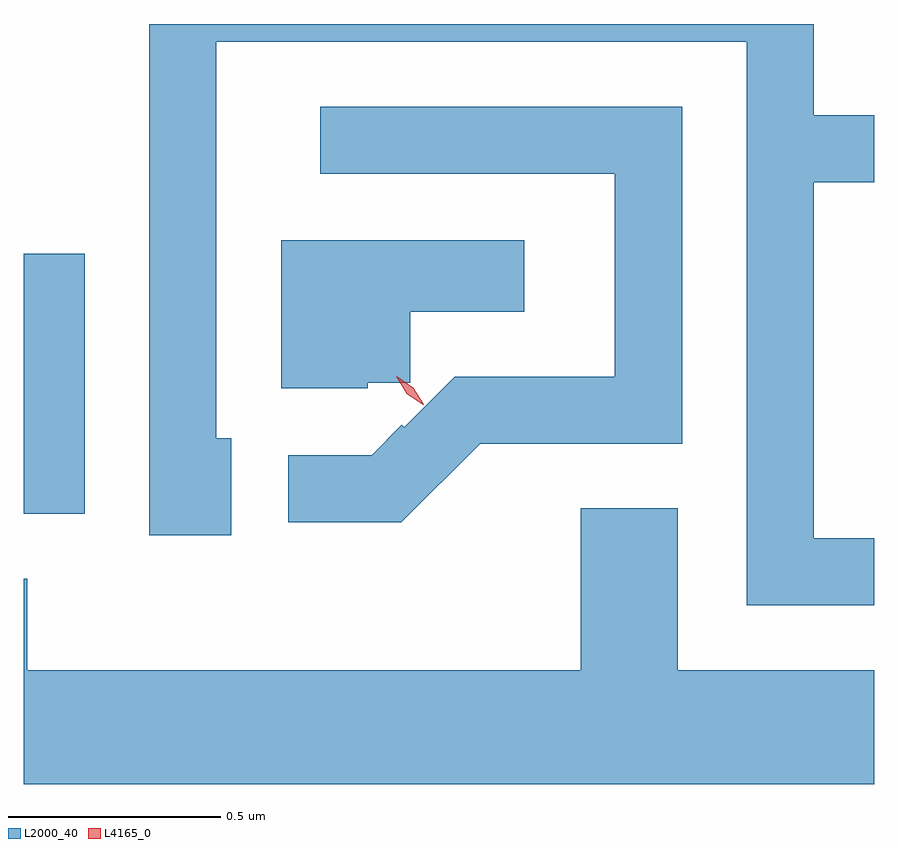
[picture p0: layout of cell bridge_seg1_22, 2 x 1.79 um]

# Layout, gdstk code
import gdstk
lib = gdstk.Library(unit=1e-6, precision=1e-09)
def R(c, l, rs):  # rectangles x0, y0, x1, y1
    for r in rs: c.add(gdstk.rectangle(r[:2], r[2:], *l))
def P(c, l, *ps):  # polygons
    for p in ps: c.add(gdstk.Polygon(p, *l))
L2000_40 = (2000, 40)
L4165_0 = (4165, 0)

bridge_seg1_22 = lib.new_cell('bridge_seg1_22')
R(bridge_seg1_22, L2000_40, [(1522.531,860.251,1522.674,860.863)])
P(bridge_seg1_22, L2000_40, [(1524.531,860.194),(1524.389,860.194),(1524.389,861.031),(1524.531,861.031),(1524.531,861.189),(1524.389,861.189),(1524.389,861.403),(1522.826,861.403),(1522.826,860.201),(1523.019,860.201),(1523.019,860.429),(1522.984,860.429),(1522.984,861.361),(1524.231,861.361),(1524.231,860.036),(1524.531,860.036)],
  [(1523.604,860.416),(1524.079,860.416),(1524.079,861.209),(1523.228,861.209),(1523.228,861.051),(1523.921,861.051),(1523.921,860.574),(1523.545,860.574),(1523.426,860.455),(1523.42,860.461),(1523.349,860.389),(1523.153,860.389),(1523.153,860.231),(1523.419,860.231)],
  [(1523.34,860.56),(1523.44,860.56),(1523.44,860.726),(1523.708,860.726),(1523.708,860.894),(1523.136,860.894),(1523.136,860.546),(1523.34,860.546)],
  [(1524.531,859.884),(1524.069,859.884),(1524.069,860.264),(1523.841,860.264),(1523.841,859.884),(1522.539,859.884),(1522.539,860.099),(1522.531,860.099),(1522.531,859.616),(1524.531,859.616)])
P(bridge_seg1_22, L4165_0, [(1523.471,860.509),(1523.433,860.534),(1523.409,860.572),(1523.409,860.573),(1523.409,860.573),(1523.447,860.548),(1523.472,860.509),(1523.472,860.509)],
  [(1523.472,860.506),(1523.432,860.534),(1523.407,860.575),(1523.407,860.575),(1523.408,860.575),(1523.447,860.548),(1523.472,860.507),(1523.472,860.506)])

lib.write_gds('bridge_seg1_22.gds')
